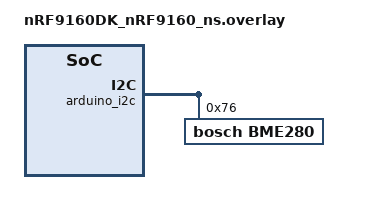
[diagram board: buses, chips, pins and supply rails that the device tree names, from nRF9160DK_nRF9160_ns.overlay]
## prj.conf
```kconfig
CONFIG_SERIAL=y

# Enable Software Modules for BME280 Sensor Driver Usage
CONFIG_I2C=y
CONFIG_SENSOR=y
```

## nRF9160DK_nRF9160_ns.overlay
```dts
/* Configuration of a BME280 device on an Arduino I2C bus.
   -------------------------------------------------------
   Device Address 0x76 is used here. Selected Pins:
        SCL  ->  P0.31
        SDA  ->  P0.30
*/    
&arduino_i2c {
        status = "okay";
        bme280@76 {
                compatible = "bosch,bme280";
                reg = <0x76>;
        };
};
```

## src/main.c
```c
#include <zephyr.h>
#include <sys/printk.h>

#include <zephyr/device.h>
#include <zephyr/drivers/sensor.h>

void main(void)
{
     printk("MyProject is running!\n");

     const struct device *dev = DEVICE_DT_GET_ANY(bosch_bme280);
     if (dev==NULL){
         /* No such node, or the node does not have status "okay". */
         printk("\nError: Device \"%s\" is not ready.\n", dev->name);
         return;
     }

     while(1){
         struct sensor_value temp, press, humidity;
     
         sensor_sample_fetch(dev);
         sensor_channel_get(dev, SENSOR_CHAN_AMBIENT_TEMP, &temp);
         sensor_channel_get(dev, SENSOR_CHAN_PRESS, &press);
         sensor_channel_get(dev, SENSOR_CHAN_HUMIDITY, &humidity);
         
         printk("temp: %d.%06d; press: %d.%06d; humidity: %d.%06d\n",
                 temp.val1, temp.val2, press.val1, press.val2,
                 humidity.val1, humidity.val2);

         k_sleep(K_MSEC(1000));                
     }
}
```
